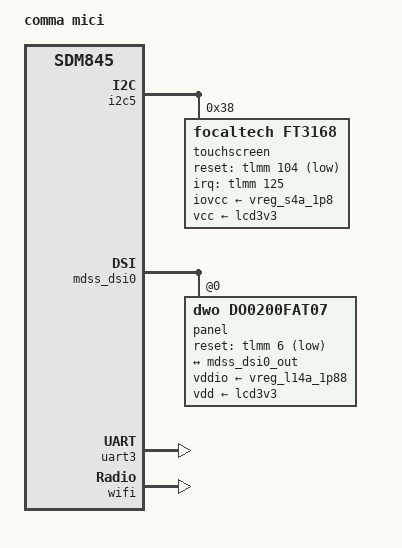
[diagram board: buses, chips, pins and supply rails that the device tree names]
/dts-v1/;

#include "sdm845-comma-common.dtsi"

/ {
	model = "comma mici";
	compatible = "comma,mici", "qcom,sdm845";
	qcom,msm-id = <341 0x20001>, <321 0x20001>, <321 0x20000>, <348 0x20001>;
	qcom,board-id = <0x22 0>;

	aliases {
		hsuart0 = &uart3;
	};
};

&i2c5 {
	touchscreen@38 {
		compatible = "focaltech,ft3168";
		reg = <0x38>;

		interrupt-parent = <&tlmm>;
		interrupts = <125 IRQ_TYPE_EDGE_FALLING>;
		reset-gpios = <&tlmm 104 GPIO_ACTIVE_LOW>;

		iovcc-supply = <&vreg_s4a_1p8>;
		vcc-supply = <&lcd3v3>;

		touchscreen-size-x = <240>;
		touchscreen-size-y = <536>;
	};
};

&mdss_dsi0 {
	panel@0 {
		compatible = "dwo,do0200fat07";

		reg = <0>;

		vddio-supply = <&vreg_l14a_1p88>;
		vdd-supply = <&lcd3v3>;

		reset-gpios = <&tlmm 6 GPIO_ACTIVE_LOW>;

		rotation = <90>;

		port {
			panel_in: endpoint {
				remote-endpoint = <&mdss_dsi0_out>;
			};
		};
	};
};

&mdss_dsi0_out {
	remote-endpoint = <&panel_in>;
	data-lanes = <0>;
};

&uart3 {
	status = "okay";
};

&wifi {
	qcom,calibration-variant = "comma-mici";
};

/*
 * Board requirement carried from legacy AGNOS (comma_mici.dts: "&pm8998_l8 {
 * regulator-always-on; }"): L8 (1.2V) feeds the camera sensor power chain on
 * mici with no DT-visible consumer. Without it all three OS04C10s NACK their
 * I2C address (rails/MCLK/CCI all measure correct) — found 2026-07-01 via a
 * legacy-vs-mainline PMIC SPMI register diff. mici-only, as in legacy.
 */
&vreg_l8a_1p2 {
	regulator-always-on;
};
